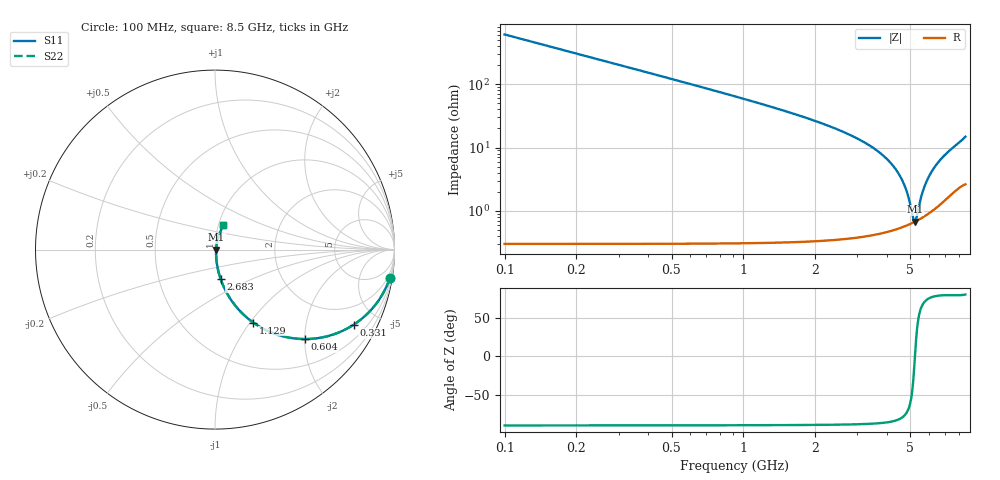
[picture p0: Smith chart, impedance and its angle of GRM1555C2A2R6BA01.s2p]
!Murata Part Number: GRM1555C2A2R6BA01
!These Parameters are Measured in Series Mode Connection
!Data Generated on Mar 30, 2021
!  o--ll--o
!Port1  Port2
!  o------o
!Operation Temp=25[degC], DC Bias Voltage=0[V]
!Freq. Start=100[MHz] Stop=9[GHz] 401[Steps]
# Hz S RI R 50
!Freq.(Hz) S11(Real) S11(Imag) S21(Real) S21(Imag) S12(Real) S12(Imag) S22(Real) S22(Imag)
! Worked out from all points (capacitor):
!   401 points, 100 MHz to 8.5 GHz, reference 50 ohm
!   read as one part in series: C = 2.6 pF near 142 MHz
!   lowest |Z| = 673 mohm at 5.224 GHz (marker M1)
!   series resonance near 5.227 GHz, so ESL is about 360 pH
!   S11 on the Smith chart (normalised r, x): 100 MHz: 1, -12; 331 MHz: 1.01, -3.68; 604 MHz: 1.01, -2.00; 1.129 GHz: 1.01, -1.04; 2.683 GHz: 1.01, -0.34; 8.5 GHz: 1.05, +0.29
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1e8  0.9739 -0.1591  0.0261 0.1591  0.0261 0.1591  0.9739 -0.1591
2.26e8  0.8794 -0.3251  0.1206 0.3251  0.1206 0.3251  0.8794 -0.3251
3.31e8  0.772 -0.4187  0.228 0.4187  0.228 0.4187  0.772 -0.4187
6.04e8  0.5002 -0.4985  0.4998 0.4985  0.4998 0.4985  0.5002 -0.4985
8.56e8  0.3275 -0.4671  0.6725 0.4671  0.6725 0.4671  0.3275 -0.4671
1.129e9  0.2129 -0.4064  0.7871 0.4064  0.7871 0.4064  0.2129 -0.4064
1.507e9  0.1246 -0.3261  0.8754 0.3261  0.8754 0.3261  0.1246 -0.3261
2.683e9  0.0313 -0.164  0.9687 0.164  0.9687 0.164  0.0313 -0.164
2.914e9  0.0245 -0.1425  0.9755 0.1425  0.9755 0.1425  0.0245 -0.1425
3.733e9  0.0109 -0.0809  0.9891 0.0809  0.9891 0.0809  0.0109 -0.0809
4.3e9  0.00719 -0.0469  0.9928 0.0469  0.9928 0.0469  0.00719 -0.0469
4.762e9  0.00622 -0.0224  0.9938 0.0224  0.9938 0.0224  0.00622 -0.0224
4.93e9  0.00623 -0.0141  0.9938 0.0141  0.9938 0.0141  0.00623 -0.0141
5.14e9  0.0065 -0.00407  0.9935 0.00407  0.9935 0.00407  0.0065 -0.00407
5.224e9  0.00668 -0.00015  0.9933 0.00015  0.9933 0.00015  0.00668 -0.00015
5.287e9  0.00684 0.00276  0.9932 -0.00276  0.9932 -0.00276  0.00684 0.00276
5.518e9  0.00764 0.0132  0.9924 -0.0132  0.9924 -0.0132  0.00764 0.0132
5.707e9  0.00852 0.0215  0.9915 -0.0215  0.9915 -0.0215  0.00852 0.0215
5.959e9  0.01 0.0322  0.99 -0.0322  0.99 -0.0322  0.01 0.0322
6.274e9  0.0124 0.0451  0.9876 -0.0451  0.9876 -0.0451  0.0124 0.0451
7.114e9  0.0215 0.0777  0.9785 -0.0777  0.9785 -0.0777  0.0215 0.0777
8.5e9  0.045 0.1361  0.955 -0.1361  0.955 -0.1361  0.045 0.1361
